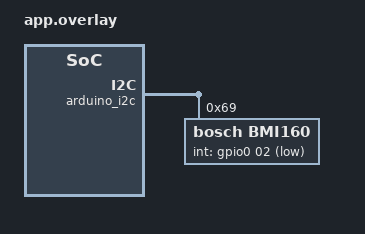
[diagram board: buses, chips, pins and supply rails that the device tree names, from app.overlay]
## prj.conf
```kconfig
CONFIG_STDOUT_CONSOLE=y
CONFIG_I2C=y
CONFIG_SENSOR=y
CONFIG_BMI160=y
```

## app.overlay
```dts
/*
 * Copyright (c) 2021 Bosch Sensortec GmbH
 *
 * SPDX-License-Identifier: Apache-2.0
 */

&arduino_i2c {
	status = "okay";

	 bmi160@69 {
		compatible = "bosch,bmi160";
		int-gpios = < &gpio0 02 0x1 >;
		reg = <0x69>;
	};
};
```

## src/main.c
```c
/*
 * Copyright (c) 2021 Bosch Sensortec GmbH
 *
 * SPDX-License-Identifier: Apache-2.0
 */

#include <zephyr/kernel.h>
#include <zephyr/device.h>
#include <zephyr/drivers/sensor.h>
#include <stdio.h>

static struct sensor_value prev_acc[3] = {0};
static struct sensor_value prev_gyr[3] = {0};
/*MIN_CHANGE can change in  */
#define MIN_CHANGE 4

extern int bmi160_acc_slope_config(const struct device *dev, enum sensor_attribute attr, const struct sensor_value *val);

static void print_bmi160_data(const struct device *bmi160)
{
	struct sensor_value acc[3];
	struct sensor_value gyr[3];

	if (sensor_channel_get(bmi160, SENSOR_CHAN_GYRO_XYZ, gyr) < 0) {
		printf("Cannot read bmg160 gyro channels.\n");
		return;
	}
	if (sensor_channel_get(bmi160, SENSOR_CHAN_GYRO_XYZ, acc) < 0) {
		printf("Cannot read bmg160 acc channels.\n");
		return;
	}
		sensor_channel_get(bmi160, SENSOR_CHAN_ACCEL_XYZ, acc);
		sensor_channel_get(bmi160, SENSOR_CHAN_GYRO_XYZ, gyr);

		printf("AX: %d.%06d; AY: %d.%06d; AZ: %d.%06d; "
		       "GX: %d.%06d; GY: %d.%06d; GZ: %d.%06d;\n",
		       acc[0].val1, acc[0].val2,
		       acc[1].val1, acc[1].val2,
		       acc[2].val1, acc[2].val2,
		       gyr[0].val1, gyr[0].val2,
		       gyr[1].val1, gyr[1].val2,
		       gyr[2].val1, gyr[2].val2);
}
// static void print_significant_change(const struct device *bmi160)
// {
//     struct sensor_value acc[3], gyr[3];
//     bool significant_change = false;

//     /* Fetch data from sensor */
//     if (sensor_sample_fetch(bmi160) < 0) {
//         printf("Sensor sample fetch failed.\n");
//         return;
//     }

//     /* Get acceleration and gyroscope data */
//     sensor_channel_get(bmi160, SENSOR_CHAN_ACCEL_XYZ, acc);
//     sensor_channel_get(bmi160, SENSOR_CHAN_GYRO_XYZ, gyr);

//     /* Check for significant change in acceleration */
//     for (int i = 0; i < 3; i++) {
//         if (abs(acc[i].val1 - prev_acc[i].val1) >= MIN_CHANGE) {
//             significant_change = true;
//         }
//     }

//     /* Check for significant change in gyroscope */
//     for (int i = 0; i < 3; i++) {
//         if (abs(gyr[i].val1 - prev_gyr[i].val1) >= MIN_CHANGE) {
//             significant_change = true;
//         }
//     }

//     /* If no significant change, exit */
//     if (!significant_change) {
//         return;
//     }

   
    
//     printf("AX: %d.%06d; AY: %d.%06d; AZ: %d.%06d; "
//            "GX: %d.%06d; GY: %d.%06d; GZ: %d.%06d;\n",
//            acc[0].val1, acc[0].val2,
//            acc[1].val1, acc[1].val2,
//            acc[2].val1, acc[2].val2,
//            gyr[0].val1, gyr[0].val2,
//            gyr[1].val1, gyr[1].val2,
//            gyr[2].val1, gyr[2].val2);

//     /* Update previous values */
//     for (int i = 0; i < 3; i++) {
//         prev_acc[i] = acc[i];
//         prev_gyr[i] = gyr[i];
//     }
// }

static void trigger_handler(const struct device *bmi160,
			    const struct sensor_trigger *trigger)
{
	if (trigger->type != SENSOR_TRIG_DATA_READY &&
	    trigger->type != SENSOR_TRIG_DELTA) {
		printf("%p: trigger handler: unknown trigger type.\n", bmi160);
		return;
	}

	if (sensor_sample_fetch(bmi160) < 0) {
		printf("Gyro sample update error.\n");
	}
   //print_significant_change(bmi160);
	print_bmi160_data(bmi160);
}


int main(void)
{
	const struct device *const dev = DEVICE_DT_GET_ONE(bosch_bmi160);
	struct sensor_value acc[3], gyr[3];
	struct sensor_value full_scale, sampling_freq, oversampling, threshold;

	if (!device_is_ready(dev)) {
		printf("Device %s is not ready\n", dev->name);
		return 0;
	}

	printf("Device %p name is %s\n", dev, dev->name);

	/* Setting scale in G, due to loss of precision if the SI unit m/s^2
	 * is used
	 */
	full_scale.val1 = 2;            /* G */
	full_scale.val2 = 0;
	sampling_freq.val1 = 100;       /* Hz. Performance mode */
	sampling_freq.val2 = 0;
	oversampling.val1 = 0;          /* Normal mode */
	oversampling.val2 = 0;

    threshold.val1 = 2;
	threshold.val2 = 0;
	sensor_attr_set(dev, SENSOR_CHAN_ACCEL_XYZ, SENSOR_ATTR_FULL_SCALE,
			&full_scale);
	sensor_attr_set(dev, SENSOR_CHAN_ACCEL_XYZ, SENSOR_ATTR_OVERSAMPLING,
			&oversampling);


	sensor_attr_set(dev, SENSOR_CHAN_ACCEL_XYZ, SENSOR_ATTR_SLOPE_TH, &threshold);

	if(sensor_attr_set(dev, SENSOR_CHAN_ACCEL_XYZ, SENSOR_ATTR_SLOPE_TH, &threshold) != 0){
		printk("Failed to configure slope");
		return 0;
	}
	else{
		printk("suceed to configure slope");
        
	}
	
	/* Set sampling frequency last as this also sets the appropriate
	 * power mode. If already sampling, change to 0.0Hz before changing
	 * other attributes
	 */
	sensor_attr_set(dev, SENSOR_CHAN_ACCEL_XYZ,
			SENSOR_ATTR_SAMPLING_FREQUENCY,
			&sampling_freq);

	/* Setting scale in degrees/s to match the sensor scale */
	full_scale.val1 = 500;          /* dps */
	full_scale.val2 = 0;
	sampling_freq.val1 = 100;       /* Hz. Performance mode */
	sampling_freq.val2 = 0;
	oversampling.val1 = 0;          /* Normal mode */
	oversampling.val2 = 0;
	sensor_attr_set(dev, SENSOR_CHAN_GYRO_XYZ, SENSOR_ATTR_FULL_SCALE,
			&full_scale);
	sensor_attr_set(dev, SENSOR_CHAN_GYRO_XYZ, SENSOR_ATTR_OVERSAMPLING,
			&oversampling);
	/* Set sampling frequency last as this also sets the appropriate
	 * power mode. If already sampling, change sampling frequency to
	 * 0.0Hz before changing other attributes
	 */
	sensor_attr_set(dev, SENSOR_CHAN_GYRO_XYZ,
			SENSOR_ATTR_SAMPLING_FREQUENCY,
			&sampling_freq);
     struct sensor_trigger trig;
	 

	trig.type = SENSOR_TRIG_DELTA;
	trig.chan = SENSOR_CHAN_ACCEL_XYZ;

    sensor_trigger_set(dev, &trig, trigger_handler);
	
		
	 
	return 0;
}
```
